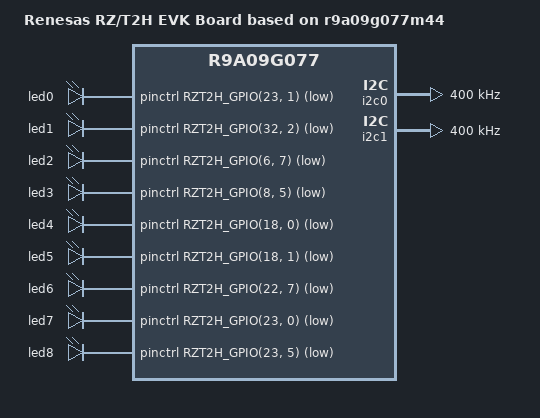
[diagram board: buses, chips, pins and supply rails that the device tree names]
// SPDX-License-Identifier: (GPL-2.0-only OR BSD-2-Clause)
/*
 * Device Tree Source for the RZ/T2H EVK board
 *
 * Copyright (C) 2025 Renesas Electronics Corp.
 */

/dts-v1/;

#include <dt-bindings/gpio/gpio.h>
#include <dt-bindings/pinctrl/renesas,r9a09g077-pinctrl.h>

#include "r9a09g077m44.dtsi"
#include "rzt2h-n2h-evk-common.dtsi"

/ {
	model = "Renesas RZ/T2H EVK Board based on r9a09g077m44";
	compatible = "renesas,rzt2h-evk", "renesas,r9a09g077m44", "renesas,r9a09g077";

	leds {
		compatible = "gpio-leds";

		led0 {
			/* SW8-9: ON, SW8-10: OFF */
			gpios = <&pinctrl RZT2H_GPIO(23, 1) GPIO_ACTIVE_LOW>;
		};

		led1 {
			/* SW5-1: OFF, SW5-2: ON */
			gpios = <&pinctrl RZT2H_GPIO(32, 2) GPIO_ACTIVE_LOW>;
		};

		led2 {
			gpios = <&pinctrl RZT2H_GPIO(6, 7) GPIO_ACTIVE_LOW>;
		};

		led3 {
			/* SW2-3: OFF */
			gpios = <&pinctrl RZT2H_GPIO(8, 5) GPIO_ACTIVE_LOW>;
		};

		led4 {
			/* SW8-3: ON, SW8-4: OFF */
			gpios = <&pinctrl RZT2H_GPIO(18, 0) GPIO_ACTIVE_LOW>;
		};

		led5 {
			/* SW8-1: ON, SW8-2: OFF */
			gpios = <&pinctrl RZT2H_GPIO(18, 1) GPIO_ACTIVE_LOW>;
		};

		led6 {
			/* SW5-9: OFF, SW5-10: ON */
			gpios = <&pinctrl RZT2H_GPIO(22, 7) GPIO_ACTIVE_LOW>;
		};

		led7 {
			/* SW5-7: OFF, SW5-8: ON */
			gpios = <&pinctrl RZT2H_GPIO(23, 0) GPIO_ACTIVE_LOW>;
		};

		led8 {
			/* SW7-5: OFF, SW7-6: ON */
			gpios = <&pinctrl RZT2H_GPIO(23, 5) GPIO_ACTIVE_LOW>;
		};
	};
};

&i2c0 {
	pinctrl-0 = <&i2c0_pins>;
	pinctrl-names = "default";
	clock-frequency = <400000>;
	status = "okay";
};

&i2c1 {
	pinctrl-0 = <&i2c1_pins>;
	pinctrl-names = "default";
	clock-frequency = <400000>;
	status = "okay";
};

&pinctrl {
	/*
	 * I2C0 Pin Configuration:
	 * ------------------------
	 * Signal | Pin     | SW6
	 * -------|---------|--------------
	 * SCL    | P23_3   | 7: ON, 8: OFF
	 * SDA    | P23_4   | 9: ON, 10: OFF
	 */
	i2c0_pins: i2c0-pins {
		pinmux = <RZT2H_PORT_PINMUX(23, 3, 0x17)>,
			 <RZT2H_PORT_PINMUX(23, 4, 0x17)>;
	};

	i2c1_pins: i2c1-pins {
		pinmux = <RZT2H_PORT_PINMUX(5, 0, 0x17)>, /* SDA */
			 <RZT2H_PORT_PINMUX(4, 7, 0x17)>; /* SCL */
	};
};
